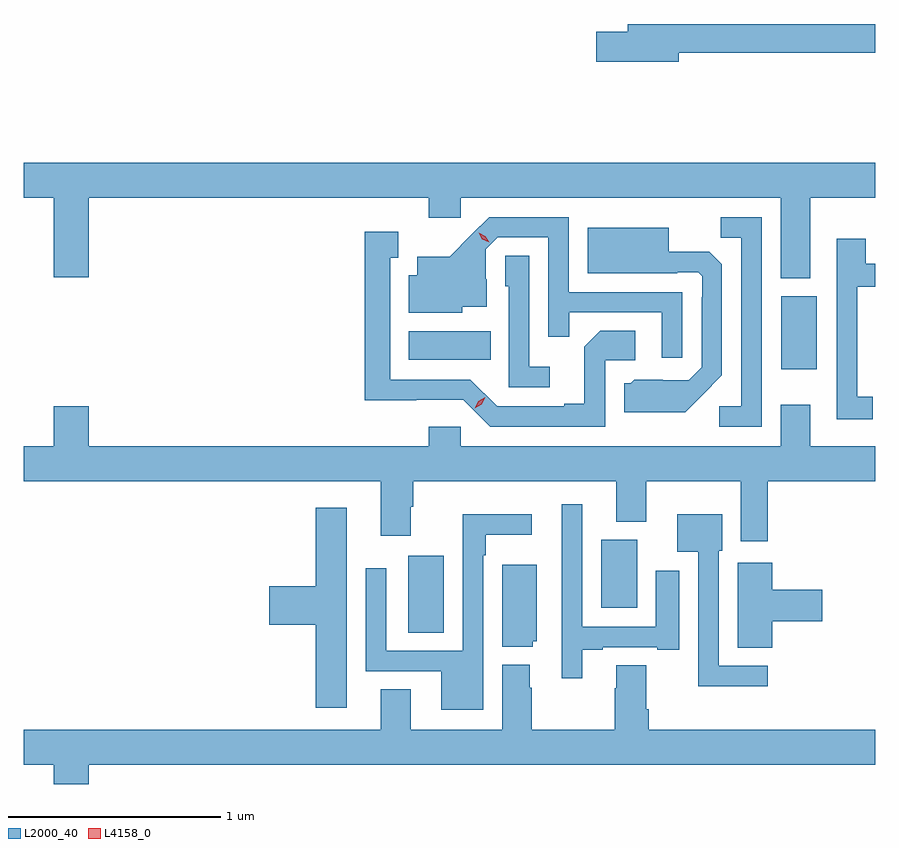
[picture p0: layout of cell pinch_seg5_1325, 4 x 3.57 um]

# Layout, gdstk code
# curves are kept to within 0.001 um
import gdstk
lib = gdstk.Library(unit=1e-6, precision=1e-09)
def R(c, l, rs):  # rectangles x0, y0, x1, y1
    for r in rs: c.add(gdstk.rectangle(r[:2], r[2:], *l))
def P(c, l, *ps):  # polygons
    for p in ps: c.add(gdstk.Polygon(p, *l))
L2000_40 = (2000, 40)
L4158_0 = (4158, 0)

pinch_seg5_1325 = lib.new_cell('pinch_seg5_1325')
R(pinch_seg5_1325, L2000_40, [(298.541,877.36,298.708,877.723), (299.447,877.478,299.617,877.798), (300.293,878.598,300.46,878.941), (298.544,878.642,298.928,878.776)])
P(pinch_seg5_1325, L2000_40, [(299.812,880.084),(300.735,880.084),(300.735,880.22),(299.573,880.22),(299.573,880.184),(299.424,880.184),(299.424,880.042),(299.812,880.042)],
  [(300.43,879.404),(300.735,879.404),(300.735,879.568),(296.735,879.568),(296.735,879.404),(296.876,879.404),(296.876,879.03),(297.04,879.03),(297.04,879.404),(298.637,879.404),(298.637,879.309),(298.788,879.309),(298.788,879.404),(300.29,879.404),(300.29,879.026),(300.43,879.026)],
  [(299.829,878.961),(299.295,878.961),(299.295,879.312),(298.922,879.312),(298.735,879.127),(298.583,879.127),(298.583,879.04),(298.544,879.04),(298.544,878.864),(298.794,878.864),(298.794,878.891),(298.909,878.891),(298.909,879.02),(298.905,879.02),(298.905,879.162),(298.962,879.219),(299.199,879.219),(299.199,878.752),(299.297,878.752),(299.297,878.865),(299.733,878.865),(299.733,878.652),(299.829,878.652)],
  [(300.201,879.312),(300.01,879.312),(300.01,879.217),(300.105,879.217),(300.105,878.424),(300.003,878.424),(300.003,878.328),(300.201,878.328)],
  [(299.923,878.477),(300.015,878.57),(300.015,879.092),(299.956,879.151),(299.764,879.151),(299.764,879.262),(299.384,879.262),(299.384,879.05),(299.804,879.05),(299.804,879.054),(299.904,879.054),(299.922,879.036),(299.922,878.936),(299.919,878.936),(299.919,878.607),(299.859,878.547),(299.602,878.548),(299.586,878.532),(299.555,878.532),(299.555,878.396),(299.843,878.396)],
  [(299.466,878.64),(299.608,878.64),(299.608,878.78),(299.443,878.78),(299.367,878.704),(299.367,878.437),(299.273,878.437),(299.273,878.424),(298.959,878.424),(298.833,878.55),(298.456,878.55),(298.456,879.123),(298.495,879.123),(298.495,879.244),(298.338,879.244),(298.338,878.453),(298.8,878.454),(298.926,878.328),(299.466,878.328)],
  [(300.724,878.469),(300.651,878.469),(300.651,878.985),(300.735,878.985),(300.735,879.094),(300.691,879.094),(300.691,879.211),(300.555,879.211),(300.555,878.364),(300.724,878.364)],
  [(299.206,878.611),(299.109,878.611),(299.109,879.131),(298.998,879.131),(298.998,878.988),(299.013,878.988),(299.013,878.514),(299.206,878.514)],
  [(297.04,878.425),(296.876,878.425),(296.876,878.236),(296.735,878.236),(296.735,878.072),(298.412,878.072),(298.412,877.815),(298.552,877.815),(298.552,877.952),(298.565,877.952),(298.565,878.072),(299.519,878.072),(299.519,877.883),(299.659,877.883),(299.659,878.072),(300.104,878.072),(300.104,877.791),(300.23,877.791),(300.23,878.072),(300.735,878.072),(300.735,878.236),(300.43,878.236),(300.43,878.431),(300.29,878.431),(300.29,878.236),(298.788,878.236),(298.788,878.329),(298.637,878.329),(298.637,878.236),(297.04,878.236)],
  [(299.359,877.281),(299.455,877.281),(299.455,877.293),(299.711,877.293),(299.711,877.281),(299.815,877.281),(299.815,877.651),(299.705,877.651),(299.705,877.389),(299.358,877.389),(299.358,877.963),(299.262,877.963),(299.262,877.146),(299.359,877.146)],
  [(298.252,877.948),(298.106,877.948),(298.106,877.58),(297.888,877.58),(297.888,877.397),(298.106,877.397),(298.106,877.008),(298.252,877.008)],
  [(300.229,877.206),(300,877.206),(300,877.746),(300.016,877.746),(300.016,877.918),(299.804,877.918),(299.804,877.742),(299.904,877.742),(299.904,877.109),(300.229,877.109)],
  [(298.893,877.724),(298.906,877.724),(298.906,877.82),(299.122,877.82),(299.122,877.918),(298.797,877.918),(298.797,877.275),(298.437,877.275),(298.437,877.663),(298.341,877.663),(298.341,877.179),(298.697,877.179),(298.697,876.998),(298.893,876.998)],
  [(300.251,877.415),(300.487,877.415),(300.487,877.562),(300.251,877.562),(300.251,877.69),(300.089,877.69),(300.089,877.291),(300.251,877.291)],
  [(299.127,877.32),(299.146,877.32),(299.146,877.681),(298.982,877.681),(298.982,877.295),(299.127,877.295)],
  [(297.04,876.74),(300.735,876.74),(300.735,876.904),(299.672,876.904),(299.672,877),(299.659,877),(299.659,877.208),(299.519,877.208),(299.519,877.1),(299.512,877.1),(299.512,876.904),(299.121,876.904),(299.121,877.103),(299.113,877.103),(299.113,877.21),(298.982,877.21),(298.982,876.904),(298.552,876.904),(298.552,877.094),(298.412,877.094),(298.412,876.904),(296.735,876.904),(296.735,876.74),(296.876,876.74),(296.876,876.65),(297.04,876.65)])
P(pinch_seg5_1325, L4158_0, [(298.921,879.195),(298.89,879.21),(298.873,879.239),(298.873,879.24),(298.873,879.24),(298.904,879.224),(298.921,879.195),(298.921,879.195)],
  [(298.854,878.414),(298.854,878.415),(298.871,878.447),(298.903,878.467),(298.903,878.467),(298.903,878.466),(298.886,878.434),(298.854,878.414)])

lib.write_gds('pinch_seg5_1325.gds')
